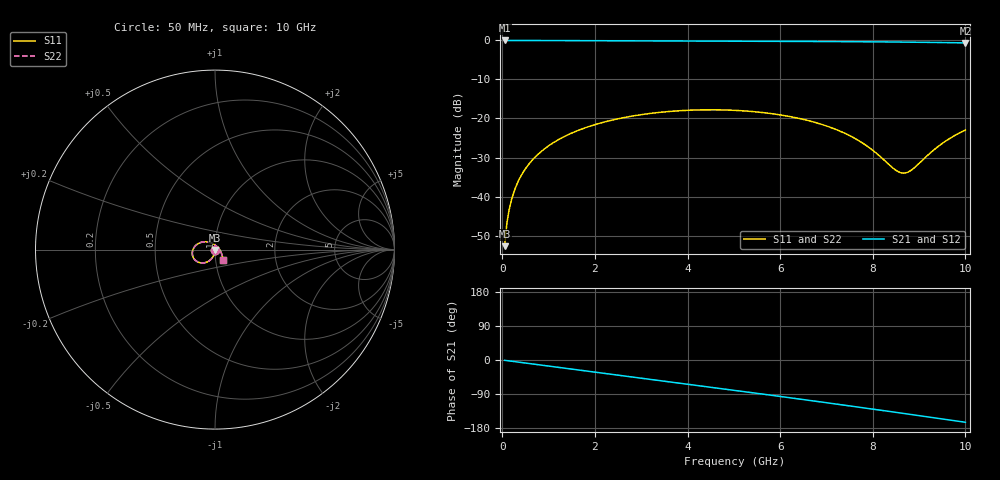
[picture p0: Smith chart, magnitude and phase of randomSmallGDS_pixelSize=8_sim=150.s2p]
! freq	dB(S11)	phase(S11)	dB(S12)	phase(S12)
!  dB(S21)	phase(S21)	dB(S22)	phase(S22)
!S-par simulation data
#  GHz  S  DB  R 50
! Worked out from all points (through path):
!   200 points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, 50 MHz to 10 GHz, reference 50 ohm
!   highest |S21| = 0.00 dB at 50 MHz (marker M1); lowest = -0.6 dB at 10 GHz (marker M2)
!   group delay of S21, straight-line fit = 45.4 ps
!   lowest |S11| = -52.7 dB at 50 MHz (marker M3), VSWR 1.00, Z = 50 - j0.23 ohm
!   |S11| at or under -10 dB: start of sweep to end of sweep
!   |S22| runs from -52.7 to -17.8 dB; largest |S21 - S12| = 0
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0.05  -52.72 -94.8  -0.00 -0.8  -0.00 -0.8  -52.72 -94.8
0.1  -46.79 -93.7  -0.00 -1.6  -0.00 -1.6  -46.79 -93.7
0.15  -43.28 -93.9  -0.00 -2.4  -0.00 -2.4  -43.28 -93.9
0.2  -40.79 -94.4  -0.00 -3.2  -0.00 -3.2  -40.79 -94.4
0.35  -35.95 -96.5  -0.01 -5.7  -0.01 -5.7  -35.95 -96.5
0.5  -32.88 -98.9  -0.01 -8.0  -0.01 -8.0  -32.88 -98.9
0.7  -30.01 -102.1  -0.02 -11.3  -0.02 -11.3  -30.01 -102.1
1  -27.01 -107.0  -0.02 -16.1  -0.02 -16.1  -27.01 -107.0
1.75  -22.56 -119.3  -0.05 -28.0  -0.05 -28.0  -22.56 -119.3
2.5  -20.07 -131.5  -0.08 -39.9  -0.08 -39.9  -20.07 -131.4
3.4  -18.43 -146.1  -0.12 -54.3  -0.12 -54.3  -18.43 -146.0
4.25  -17.80 -160.2  -0.16 -67.8  -0.16 -67.8  -17.80 -160.1
5.05  -17.93 -173.9  -0.19 -80.7  -0.19 -80.7  -17.93 -173.8
5.9  -18.90 170.8  -0.22 -94.5  -0.22 -94.5  -18.90 170.9
6.7  -20.83 154.7  -0.26 -107.7  -0.26 -107.7  -20.83 154.9
7.6  -25.01 131.3  -0.31 -122.8  -0.31 -122.8  -25.03 131.6
7.95  -27.70 117.1  -0.34 -128.7  -0.34 -128.7  -27.73 117.6
8.35  -31.81 88.2  -0.38 -135.6  -0.38 -135.6  -31.90 88.9
8.6  -33.89 54.3  -0.41 -139.9  -0.41 -139.9  -34.07 54.7
8.75  -33.80 29.6  -0.43 -142.5  -0.43 -142.5  -34.00 29.5
9.45  -26.83 -33.8  -0.53 -154.6  -0.53 -154.6  -26.88 -34.4
10  -22.95 -52.7  -0.62 -164.2  -0.62 -164.2  -22.98 -53.1
